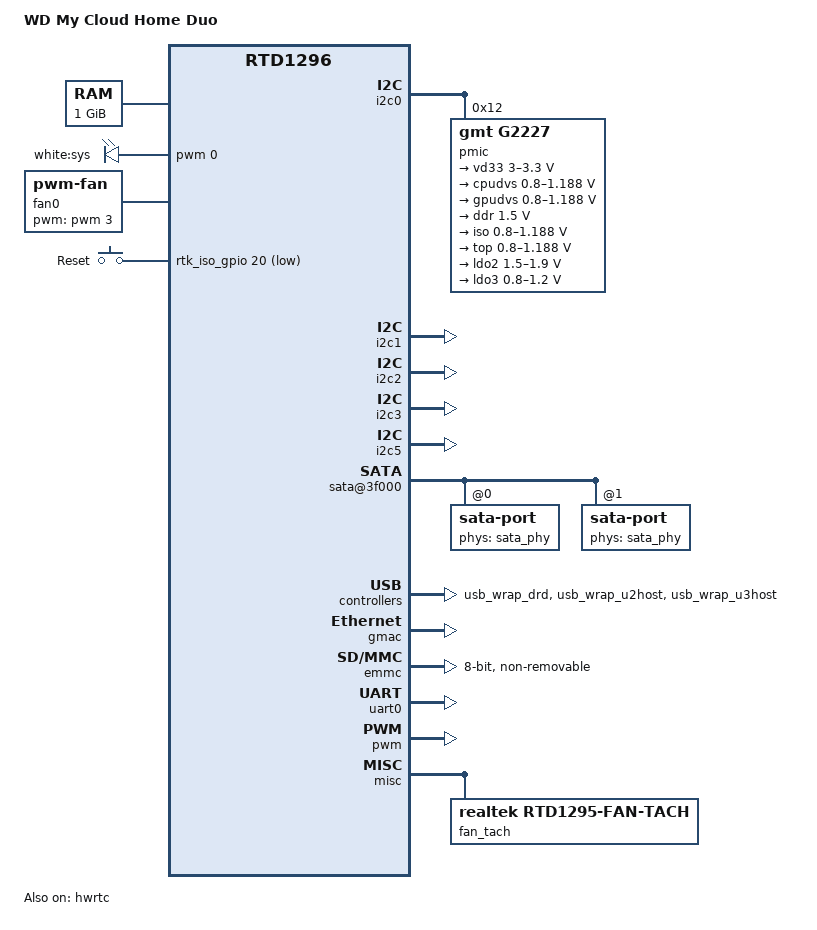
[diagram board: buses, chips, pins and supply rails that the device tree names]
// SPDX-License-Identifier: (GPL-2.0-or-later OR BSD-2-Clause)
/*
 * WD My Cloud Home Duo device tree
 * Based on Realtek RTD1296 SoC ("Pelican" board, vendor codename)
 *
 * Ported from kernel 4.9.330 (vendor symops/pelican-4.9.330) to 6.18,
 * following the same approach already proven on the single-bay WD My
 * Cloud Home (RTD1295 "Monarch", see rtd1295-wd-mycloud-home.dts in this
 * same directory -- that file's history/comments explain most of the
 * generic RTD129x-family bring-up decisions this file inherits unchanged
 * (SMP spin-table, IRQ mux, PWM/LED, cpufreq, thermal, GMAC, USB dwc3).
 *
 * RTD1296 is the same silicon as RTD1295 with a second SATA lane and a
 * third (u3host) USB controller bonded out -- see the vendor's
 * rtd-1296-saola-common.dtsi vs. rtd-1295-giraffe-common.dtsi (nearly
 * identical) and rtd-1296.dtsi vs. rtd-1295.dtsi (adds rtd-1296-sata.dtsi
 * with a second sata-phy/sata-port, and rtd-1296-usb.dtsi with a
 * dwc3_u3host block + an RTS5400 Type-C PD companion chip on i2c_5,
 * investigated and closed -- see the Progress log in README.md).
 * The WD My Cloud Home Duo boots its OS from eMMC (bootargs androidboot.storage=emmc in
 * the vendor DTS) and uses its two SATA bays for user data (RAID), unlike
 * the single-bay Monarch which boots from SATA directly. This port keeps
 * running rootfs from SATA (see the USB-rescue dev loop below) rather than
 * matching the vendor's eMMC-OS/SATA-data split, but the eMMC controller
 * itself is now ported (drivers/mmc/host/dw_mmc-rtd129x.c, see the `emmc`
 * node further down) as a plain mountable block device -- no mainline
 * RTD129x eMMC driver existed upstream; this one is new, a thin glue on
 * top of the mainline dw_mmc core (the IP is a genuine DesignWare Mobile
 * Storage Host, register-compatible, once you look past the vendor's own
 * from-scratch driver).
 *
 * Dual-SATA register values (CRT reset bits, PHY calibration tables) in
 * this file and in drivers/ata/ahci_rtd1295.c are cross-checked against
 * BOTH the vendor pelican-4.9.330 board DTS (rtd-1296-pelican-1GB.dts)
 * and a real vendor 4.9.330 boot log from an actual WD My Cloud Home Duo
 * unit with two WDC WD5000AZLX drives installed (both bays linking at
 * 6.0 Gbps) -- see the comment above ahci_rtd1295_ports_1296[] in that
 * driver for the exact register traces.
 */

/dts-v1/;

/*
 * Same USB-rescue-loader ramdisk staging convention as Monarch: see the
 * matching comment in rtd1295-wd-mycloud-home.dts. Confirmed identical on
 * this SoC family -- the vendor rtd-1296-pelican-rescue.dts reserves the
 * same ROOTFS_RESCUE_START/SIZE (0x02200000/0x00C00000) from
 * include/soc/realtek/memory.h, and the FDT "reserving fdt memory region:
 * addr=2200000 size=400000" line in the real Duo boot log matches exactly.
 */
/memreserve/ 0x02200000 0x00C00000;

#include "rtd1296.dtsi"
#include <dt-bindings/gpio/gpio.h>
#include <dt-bindings/input/input.h>
#include <dt-bindings/thermal/thermal.h>
#include <dt-bindings/reset/realtek,rtd1295.h>

/ {
	compatible = "wd,mycloud-home-duo", "realtek,rtd1296";
	model = "WD My Cloud Home Duo";

	/*
	 * Confirmed by the real boot log ("U-Boot 2015.07 ... DRAM: 1 GiB").
	 * Same 32-bit root address cells caveat as Monarch: fine as long as
	 * everything stays below 4 GiB.
	 */
	memory@0 {
		device_type = "memory";
		reg = <0x0 0x40000000>;
	};

	aliases {
		serial0 = &uart0;
		serial1 = &uart1;
		serial2 = &uart2;
		i2c0 = &i2c0;
		i2c1 = &i2c1;
	};

	chosen {
		bootargs = "earlycon=uart8250,mmio32,0x98007800 console=ttyS0,115200 panic=5";
		stdout-path = "serial0:115200n8";
		linux,initrd-start = <0x02200000>;
		linux,initrd-end = <0x02600000>;
	};

	reserved-memory {
		#address-cells = <1>;
		#size-cells = <1>;
		ranges;

		linux,cma {
			compatible = "shared-dma-pool";
			reusable;
			size = <0x02000000>;
			linux,cma-default;
		};

		ramoops@22000000 {
			compatible = "ramoops";
			reg = <0x22000000 0x200000>;
			record-size = <0x4000>;
			console-size = <0x100000>;
			ftrace-size = <0x4000>;
		};
	};
};

&rbus {
	/* Same RTD129x interrupt mux as Monarch -- see that file's comment. */
	mux_intc: interrupt-controller@1b000 {
		compatible = "Realtek,rtk-irq-mux";
		status = "okay";
		interrupt-controller;
		#interrupt-cells = <2>;

		Realtek,mux-nr = <2>;
		intr-status = <0x0c 0x00>;
		intr-en = <0x80 0x40>;

		interrupt-parent = <&gic>;
		interrupts = <GIC_SPI 40 IRQ_TYPE_LEVEL_HIGH>,
			     <GIC_SPI 41 IRQ_TYPE_LEVEL_HIGH>;

		reg = <0x1b000 0x100>, <0x7000 0x100>;
	};

	/*
	 * I2C buses, same "realtek,rtk-i2c" binding and RBUS addresses as
	 * Monarch (SoC-level, not board-specific). i2c5 additionally carries
	 * an RTS5400 Type-C PD companion chip on this board (vendor
	 * rtd1296.dtsi &i2c_5) -- investigated and closed, not planned: its
	 * USB3 hub function is transparent hardware needing no driver at
	 * all, and the vendor I2C driver only ever gates one optional 12V
	 * accessory-power GPIO after a proprietary PD negotiation. Left
	 * unlisted here. See README.md's Progress log.
	 */
	i2c0: i2c@7d00 {
		compatible = "realtek,rtk-i2c";
		reg = <0x7d00 0x100>, <0x7000 0x100>;
		interrupt-parent = <&mux_intc>;
		interrupts = <1 8>;
		i2c-num = <0>;
		status = "okay";
		#address-cells = <1>;
		#size-cells = <0>;

		pmic@12 {
			compatible = "gmt,g2227";
			reg = <0x12>;
			status = "okay";

			regulators {
				compatible = "gmt,g2227-regulator";
				status = "okay";

				dc1 { regulator-boot-on; regulator-always-on; regulator-name = "vd33"; regulator-min-microvolt = <3000000>; regulator-max-microvolt = <3300000>; regulator-initial-mode = <1>; };
				dc2 { regulator-boot-on; regulator-always-on; regulator-name = "cpudvs"; regulator-min-microvolt = <800000>; regulator-max-microvolt = <1187500>; regulator-initial-mode = <0>; regulator-state-mem { regulator-off-in-suspend; }; };
				dc3 { regulator-boot-on; regulator-always-on; regulator-name = "gpudvs"; regulator-min-microvolt = <800000>; regulator-max-microvolt = <1187500>; regulator-initial-mode = <0>; regulator-ramp-delay = <625>; regulator-state-mem { regulator-off-in-suspend; }; };
				dc4 { regulator-boot-on; regulator-always-on; regulator-name = "ddr"; regulator-min-microvolt = <1500000>; regulator-max-microvolt = <1500000>; regulator-initial-mode = <0>; regulator-state-coldboot { regulator-off-in-suspend; }; };
				dc5 { regulator-boot-on; regulator-always-on; regulator-name = "iso"; regulator-min-microvolt = <800000>; regulator-max-microvolt = <1187500>; regulator-initial-mode = <0>; };
				dc6 { regulator-boot-on; regulator-always-on; regulator-name = "top"; regulator-min-microvolt = <800000>; regulator-max-microvolt = <1187500>; regulator-initial-mode = <0>; regulator-state-mem { regulator-off-in-suspend; }; };
				ldo2 { regulator-boot-on; regulator-always-on; regulator-name = "ldo2"; regulator-min-microvolt = <1500000>; regulator-max-microvolt = <1900000>; regulator-initial-mode = <0>; regulator-state-mem { regulator-off-in-suspend; }; };
				ldo3 { regulator-boot-on; regulator-always-on; regulator-name = "ldo3"; regulator-min-microvolt = <800000>; regulator-max-microvolt = <1200000>; regulator-initial-mode = <0>; regulator-state-mem { regulator-off-in-suspend; }; };
			};
		};
	};

	i2c1: i2c@7c00 {
		compatible = "realtek,rtk-i2c";
		reg = <0x7c00 0x100>, <0x7000 0x100>;
		interrupt-parent = <&mux_intc>;
		interrupts = <1 11>;
		i2c-num = <1>;
		status = "okay";
		#address-cells = <1>;
		#size-cells = <0>;
	};

	i2c2: i2c@1b700 {
		compatible = "realtek,rtk-i2c";
		reg = <0x1b700 0x100>, <0x1b00c 0x100>;
		interrupt-parent = <&mux_intc>;
		interrupts = <0 26>;
		i2c-num = <2>;
		status = "okay";
		#address-cells = <1>;
		#size-cells = <0>;
	};

	i2c3: i2c@1b900 {
		compatible = "realtek,rtk-i2c";
		reg = <0x1b900 0x100>, <0x1b00c 0x100>;
		interrupt-parent = <&mux_intc>;
		interrupts = <0 23>;
		i2c-num = <3>;
		status = "okay";
		#address-cells = <1>;
		#size-cells = <0>;
	};

	i2c4: i2c@1ba00 {
		compatible = "realtek,rtk-i2c";
		reg = <0x1ba00 0x100>, <0x1b00c 0x100>;
		interrupt-parent = <&mux_intc>;
		interrupts = <0 15>;
		i2c-num = <4>;
		status = "disabled";
		#address-cells = <1>;
		#size-cells = <0>;
	};

	i2c5: i2c@1bb00 {
		compatible = "realtek,rtk-i2c";
		reg = <0x1bb00 0x100>, <0x1b00c 0x100>;
		interrupt-parent = <&mux_intc>;
		interrupts = <0 14>;
		i2c-num = <5>;
		status = "okay";
		#address-cells = <1>;
		#size-cells = <0>;
	};

	/*
	 * ISO_GPIO block -- mainline drivers/gpio/gpio-rtd.c
	 * ("realtek,rtd1295-iso-gpio"), never previously instantiated
	 * anywhere in this port (neither here nor in Monarch's DTS -- both
	 * only carried a stale "TODO: Port GPIO and pinctrl" comment). Added
	 * now specifically to expose the Reset button (see below); nothing
	 * else on this board needs it yet.
	 *
	 * `reg` order is [0]=GPIO data/control registers, [1]=GPIO interrupt
	 * (assert/deassert status) registers -- confirmed against the
	 * driver's own upstream binding
	 * (Documentation/devicetree/bindings/gpio/realtek,rtd-gpio.yaml
	 * example: "reg: [0] GPIO controller registers, [1] GPIO interrupt
	 * registers") and cross-checked against this file's own
	 * already-hardware-confirmed RTD_MISC_GPIO_DIR/DATO offsets in
	 * ahci_rtd1295.c (dir=+0x0, dato=+0x10 relative to 0x9801b100, the
	 * *second* of the vendor DTS's two misc_gpio reg entries) -- i.e.
	 * this order is the reverse of how the vendor's own (differently
	 * structured) DTS lists the same two physical blocks. ISO_GPIO is
	 * 0x98007100 (rbus-relative 0x7100) / ISO_SYS is 0x98007000
	 * (rbus-relative 0x7000), same pairing as the vendor's own
	 * rtk_iso_gpio@98007100 node in rtd-1296.dtsi.
	 *
	 * interrupts: same &mux_intc bank/bit pair as the vendor's own
	 * rtk_iso_gpio node (interrupt-parent = <&mux_intc>; interrupts =
	 * <1 19>, <1 20>; in rtd-1296.dtsi) -- GPIOA_INT (assert) then
	 * GPIODA_INT (deassert), mux bank 1 (same bank i2c0/i2c1 above use).
	 *
	 * No pinctrl driver exists in this port yet (same stale TODO as
	 * above), so gpio-ranges -- required by the binding -- is omitted;
	 * these 35 ISO GPIO lines default to GPIO mode with no pinmux group
	 * needed (same reasoning already applied to the LED GPIOs in
	 * ahci_rtd1295.c/rtd1295-wd-mycloud-home.dts's pwm-leds). This is a
	 * schema violation `make dtbs_check` would flag, not something
	 * `make dtbs` itself checks.
	 *
	 * reg[1] (the ISO_SYS/interrupt-status block) is intentionally only
	 * 0x10 bytes, not the vendor's full 0x100-byte page: that page is
	 * shared with other, already-working peripherals at unrelated byte
	 * offsets within it -- &pwm at +0xd0 (rtd129x-pwm, this board's SYS
	 * LED and fan) and a simple-reset controller at +0x88 -- and
	 * devm_platform_ioremap_resource() reserves a reg entry's *entire*
	 * declared size exclusively via request_mem_region(), regardless of
	 * which bytes gpio-rtd.c actually touches. Declaring the vendor's
	 * full 0x100 here claimed that whole page and broke both of those
	 * drivers with "-EBUSY: can't request region" on real hardware
	 * (confirmed: SYS LED and fan both stopped working). 0x10 bytes
	 * covers only the registers gpio-rtd.c's rtd1295_iso_gpio_info
	 * actually needs for GPIO 22 (gpa_offset[0]=0x8, gpda_offset[0]=0xc
	 * -- the first status bank, GPIOs 0-30): far short of +0x88/+0xd0,
	 * so no more overlap. A future consumer needing local GPIO >=30 on
	 * this chip (bank 1, gpa/gpda at +0xe0/+0xe4) would need a wider
	 * window and would have to solve this same page-sharing conflict
	 * again; out of scope for this button.
	 */
	rtk_iso_gpio: gpio@7100 {
		compatible = "realtek,rtd1295-iso-gpio";
		reg = <0x7100 0x100>, <0x7000 0x10>;
		interrupt-parent = <&mux_intc>;
		interrupts = <1 19>, <1 20>;
		gpio-controller;
		#gpio-cells = <2>;
		status = "okay";
	};

	/*
	 * Cosmetic power-off -- see drivers/power/reset/wdmc-poweroff.c for
	 * the full story on why this isn't a real power cut. reg[0] is the
	 * pwm@d0 block's own OCD register (4 bytes, all 4 channels packed
	 * into one word -- see that node's own comment on why this can't be
	 * an exclusive devm_platform_ioremap_resource() claim).
	 *
	 * wd,usb-vbus-gpios: misc-gpio (raw MMIO, 0x9801b100/0x9801b110) was
	 * the first thing tried here and was exhaustively disproven on real
	 * hardware -- every one of its 64 bits (both banks) swept with zero
	 * effect on VBUS. These two rtk_iso_gpio lines are what the vendor's
	 * own stock-firmware boot log on this exact unit actually uses
	 * (rtk_usb_manager: power-gpio id=127/135 -> local offsets 26/34
	 * under rtk_iso_gpio's gpio_base=101), confirmed by direct testing
	 * to each cut one external USB port's power when held low for
	 * several seconds (not a brief pulse) and restore it when driven
	 * back high: line 34 is the bottom bay's port, line 26 the top
	 * one's.
	 */
	poweroff: poweroff@70d0 {
		compatible = "wd,mycloud-home-poweroff";
		reg = <0x70d0 0x4>;
		wd,pwm-off-channels = <0 3>; /* SYS LED=0, fan=3 */
		wd,usb-vbus-gpios = <&rtk_iso_gpio 34 GPIO_ACTIVE_HIGH>,
				     <&rtk_iso_gpio 26 GPIO_ACTIVE_HIGH>;
		status = "okay";
	};

	/*
	 * SATA PHY + AHCI controller, two ports. PHY driver: mainline
	 * drivers/phy/realtek/phy-rtk-sata.c; AHCI glue:
	 * drivers/ata/ahci_rtd1295.c (compatible "realtek,rtd1296-ahci" ->
	 * ahci_rtd1295_ports_1296[], two CRT-reset/gpio entries, see that
	 * driver's comment for the exact register values and how they were
	 * confirmed against a real two-bay boot log).
	 *
	 * phy-param and rx-sense-tbl are identical for both ports (verbatim
	 * from the vendor rtd-1296-pelican-1GB.dts sata_phy@9803FF60 node,
	 * cross-checked byte-for-byte against the real boot log's "phy0
	 * para"/"phy1 para" and "rxsense" trace lines). tx-driving-tbl is the
	 * only per-port difference (0x387a.../0x587a...), also confirmed by
	 * the log's "phy0 txdrv"/"phy1 txdrv" lines.
	 */
	sata_phy: sata-phy@3ff00 {
		compatible = "Realtek,rtk-sata-phy";
		reg = <0x3ff00 0x100>, <0x1a980 0x10>;
		#address-cells = <1>;
		#size-cells = <0>;
		#phy-cells = <1>;
		status = "okay";

		sata-phy@0 {
			reg = <0>;
			spread-spectrum = <0>;

			phy-param = <0x00001111>, <0x00005111>, <0x00009111>,
				    <0x336a0511>, <0x336a4511>, <0x336a8511>,
				    <0xE0700111>, <0xE05C4111>, <0xE04A8111>,
				    <0x00150611>, <0x00154611>, <0x00158611>,
				    <0xC6000A11>, <0xC6004A11>, <0xC6008A11>,
				    <0x70000211>, <0x70004211>, <0x70008211>,
				    <0xC6600A11>, <0xC6604A11>, <0xC6608A11>,
				    <0x20041911>, <0x20045911>, <0x20049911>,
				    <0x94aa2011>, <0x94aa6011>, <0x94aaa011>,
				    <0x17171511>, <0x17175511>, <0x17179511>,
				    <0x07701611>, <0x07705611>, <0x07709611>,
				    <0x00002a11>, <0x00006a11>, <0x0000aa11>,
				    <0x27710311>, <0x27684311>, <0x27648311>,
				    <0x29001011>, <0x29005011>, <0x29009011>,
				    <0xc0000C11>, <0xc0004C11>, <0xc0008C11>,
				    <0x00271711>, <0x00275711>, <0x00279711>;

			tx-driving-tbl = <0x94a72011>, <0x94a76011>, <0x94a7a011>,
					  <0x387a2111>, <0x387a6111>, <0x387aa111>;

			rx-sense-tbl = <0x72100911>, <0x72104911>, <0x72108911>,
					<0x27750311>, <0x276e4311>, <0x276c8311>;
		};

		sata-phy@1 {
			reg = <1>;
			spread-spectrum = <0>;

			phy-param = <0x00001111>, <0x00005111>, <0x00009111>,
				    <0x336a0511>, <0x336a4511>, <0x336a8511>,
				    <0xE0700111>, <0xE05C4111>, <0xE04A8111>,
				    <0x00150611>, <0x00154611>, <0x00158611>,
				    <0xC6000A11>, <0xC6004A11>, <0xC6008A11>,
				    <0x70000211>, <0x70004211>, <0x70008211>,
				    <0xC6600A11>, <0xC6604A11>, <0xC6608A11>,
				    <0x20041911>, <0x20045911>, <0x20049911>,
				    <0x94aa2011>, <0x94aa6011>, <0x94aaa011>,
				    <0x17171511>, <0x17175511>, <0x17179511>,
				    <0x07701611>, <0x07705611>, <0x07709611>,
				    <0x00002a11>, <0x00006a11>, <0x0000aa11>,
				    <0x27710311>, <0x27684311>, <0x27648311>,
				    <0x29001011>, <0x29005011>, <0x29009011>,
				    <0xc0000C11>, <0xc0004C11>, <0xc0008C11>,
				    <0x00271711>, <0x00275711>, <0x00279711>;

			tx-driving-tbl = <0x94a72011>, <0x94a76011>, <0x94a7a011>,
					  <0x587a2111>, <0x587a6111>, <0x587aa111>;

			rx-sense-tbl = <0x72100911>, <0x72104911>, <0x72108911>,
					<0x27750311>, <0x276e4311>, <0x276c8311>;
		};
	};

	sata@3f000 {
		compatible = "realtek,rtd1296-ahci";
		reg = <0x3f000 0xf00>;
		interrupts = <GIC_SPI 28 IRQ_TYPE_LEVEL_HIGH>;
		#address-cells = <1>;
		#size-cells = <0>;
		status = "okay";

		sata-port@0 {
			reg = <0>;
			phys = <&sata_phy 0>;
			phy-names = "sata-phy";
		};

		sata-port@1 {
			reg = <1>;
			phys = <&sata_phy 1>;
			phy-names = "sata-phy";
		};
	};

	/*
	 * GMAC. Same hardware/driver as Monarch (r8169soc, "Realtek,r8168"),
	 * confirmed by the real boot log: "r8169 98016000.gmac eth0:
	 * RTL8169SOC".
	 */
	/*
	 * USB. Same three dwc3 blocks as Monarch (drd/u2host/u3host all
	 * physically present on RTD1295 already; RTD1296 additionally hangs
	 * an RTS5400 Type-C PD companion chip off the u3host port via i2c5 --
	 * investigated and closed, see README.md's Progress log; its
	 * hub function needs no driver, u3host already confirmed working as
	 * a plain host). No board-specific PHY calibration tables here, same
	 * as Monarch -- the mainline phy-rtk-usb2/usb3 driver defaults
	 * (shared with Monarch, not board-specific) are confirmed sufficient
	 * on real Duo hardware too: xhci-hcd.2.auto (io mem 0x981f0000, the
	 * u3host controller) negotiated a real USB 3.0 SuperSpeed link with
	 * a device on its SS root hub (bus 5), no link-training errors in
	 * dmesg. Vendor rtd-1296-pelican-1GB.dts's dwc3_u3host_usb3phy/
	 * usb2phy tables were never needed. See README.md's Progress
	 * log for the full story.
	 */
	usb2phy_u2: usb-phy@13c14 {
		compatible = "realtek,rtd1295-usb2phy";
		reg = <0x13c14 0x4>, <0x31280 0x4>;
		#phy-cells = <0>;
	};

	usb2phy_u3: usb-phy@13e14 {
		compatible = "realtek,rtd1295-usb2phy";
		reg = <0x13e14 0x4>, <0x1f8280 0x4>;
		#phy-cells = <0>;
	};

	usb3phy_u3: usb-phy@13e10 {
		compatible = "realtek,rtd1295-usb3phy";
		reg = <0x13e10 0x4>;
		#phy-cells = <0>;
	};

	soc_thermal: thermal-sensor@1d150 {
		compatible = "realtek,rtd129x-thermal-sensor";
		reg = <0x1d150 0x20>;
		#thermal-sensor-cells = <0>;
	};

	usb2phy_drd: usb-phy@13214 {
		compatible = "realtek,rtd1295-usb2phy";
		reg = <0x13214 0x4>, <0x28280 0x4>;
		#phy-cells = <0>;
	};

	usb3phy_drd: usb-phy@13210 {
		compatible = "realtek,rtd1295-usb3phy";
		reg = <0x13210 0x4>;
		#phy-cells = <0>;
	};

	usb_wrap_drd: usb@13200 {
		compatible = "realtek,rtd1295-dwc3", "realtek,rtd-dwc3";
		reg = <0x13200 0x200>;
		#address-cells = <1>;
		#size-cells = <1>;
		ranges;

		usb_drd: usb@20000 {
			compatible = "snps,dwc3";
			reg = <0x20000 0x9000>;
			interrupts = <GIC_SPI 21 IRQ_TYPE_LEVEL_HIGH>;
			phys = <&usb2phy_drd>, <&usb3phy_drd>;
			phy-names = "usb2-phy", "usb3-phy";
			dr_mode = "host";
			snps,dis_u2_susphy_quirk;
			snps,dis_ss_park_mode;
			resets = <&reset1 RTD1295_RSTN_USB>,
				 <&reset1 RTD1295_RSTN_USB_PHY0>,
				 <&reset1 RTD1295_RSTN_USB3_PHY0_POW>,
				 <&reset1 RTD1295_RSTN_USB3_P0_MDIO>;
		};
	};

	usb_wrap_u2host: usb@13c00 {
		compatible = "realtek,rtd1295-dwc3", "realtek,rtd-dwc3";
		reg = <0x13c00 0x200>;
		#address-cells = <1>;
		#size-cells = <1>;
		ranges;

		usb_u2host: usb@29000 {
			compatible = "snps,dwc3";
			reg = <0x29000 0x9000>;
			interrupts = <GIC_SPI 21 IRQ_TYPE_LEVEL_HIGH>;
			phys = <&usb2phy_u2>;
			phy-names = "usb2-phy";
			dr_mode = "host";
			snps,dis_u2_susphy_quirk;
			resets = <&reset1 RTD1295_RSTN_USB>,
				 <&reset1 RTD1295_RSTN_USB_PHY0>,
				 <&reset1 RTD1295_RSTN_USB_PHY1>,
				 <&reset2 RTD1295_RSTN_USB_PHY2>,
				 <&reset2 RTD1295_RSTN_USB_PHY3>;
		};
	};

	usb_wrap_u3host: usb@13e00 {
		compatible = "realtek,rtd1295-dwc3", "realtek,rtd-dwc3";
		reg = <0x13e00 0x200>;
		#address-cells = <1>;
		#size-cells = <1>;
		ranges;

		usb_u3host: usb@1f0000 {
			compatible = "snps,dwc3";
			reg = <0x1f0000 0x9000>;
			interrupts = <GIC_SPI 21 IRQ_TYPE_LEVEL_HIGH>;
			phys = <&usb2phy_u3>, <&usb3phy_u3>;
			phy-names = "usb2-phy", "usb3-phy";
			dr_mode = "host";
			snps,dis_u2_susphy_quirk;
			snps,dis_ss_park_mode;
			resets = <&reset1 RTD1295_RSTN_USB>,
				 <&reset1 RTD1295_RSTN_USB3_PHY0_POW>,
				 <&reset1 RTD1295_RSTN_USB3_P0_MDIO>,
				 <&reset2 4>,
				 <&reset2 RTD1295_RSTN_USB3_P1_MDIO>;
		};
	};

	gmac: ethernet@16000 {
		compatible = "Realtek,r8168";
		reg = <0x16000 0x1000>, <0x7000 0x1000>;
		interrupt-parent = <&gic>;
		interrupts = <GIC_SPI 22 IRQ_TYPE_LEVEL_HIGH>;
		resets = <&iso_reset RTD1295_ISO_RSTN_GMAC>,
			 <&iso_reset RTD1295_ISO_RSTN_GPHY>;
		reset-names = "gmac", "gphy";
		output-mode = <0>;
		mac-version = <0x2a>;
		ext-phy-id = <1>;
		led-cfg = <0x804f>;
		rtl-config = <1>;
		rtl-features = <2>;
		eee = <1>;
		rgmii-voltage = <1>;
		rgmii-tx-delay = <0>;
		rgmii-rx-delay = <0>;
		status = "okay";
	};

	/*
	 * SPI-NOR flash controller (SFC) and the flash-backed RTC that rides
	 * on it (Monarch's drivers/rtc/rtc-wd-mch-flash.c) are NOT enabled
	 * here -- investigated and closed, not just deferred. Unlike
	 * Monarch's SFC (which came back a real, if initially misread,
	 * Winbond ID), this Duo unit's SFC probe fails outright with
	 * "unrecognized JEDEC id bytes: ff, ff, ff" (all-high SPI lines, the
	 * classic "nothing answering" pattern, not a protocol/misdetection
	 * error).
	 *
	 * The open question was whether that's a rescue-DT power/mux gap or
	 * a genuinely absent chip. Resolved by checking two things: (1) the
	 * vendor's own *production* board DTS (rtd-1296-pelican-1GB.dts)
	 * doesn't override the SFC node at all -- it inherits
	 * `status = "okay"` from the shared rtd-1296.dtsi exactly like the
	 * rescue board DTS (rtd-1296-pelican-rescue.dts) does, with zero
	 * board-level pin/power difference between the two; (2) a captured
	 * boot log of the *vendor's own* 4.9.330 kernel and rtk-sfc driver,
	 * on this same real unit, shows the identical
	 * "unrecognized JEDEC id bytes: ff, ff, ff" failure. Vendor
	 * software, vendor driver, identical DT config to production --
	 * still nothing answers. That rules out a rescue-specific gap; this
	 * unit's boot SPI-NOR is most likely simply not populated (a BOM
	 * variant) or non-functional on this specific board, not something
	 * a DT/driver change on our side can fix. System clock defaults to
	 * the epoch and gets fixed by NTP once the network is up, same as
	 * Monarch before its flash-RTC was added -- and the same fallback
	 * this Duo unit needs permanently, not just until porting catches
	 * up.
	 */
	sfc: sfc@1a800 {
		compatible = "realtek,rtk-sfc";
		reg = <0x1a800 0x50>;
		status = "disabled";
	};

	/*
	 * eMMC (drivers/mmc/host/dw_mmc-rtd129x.c). The vendor's original
	 * design boots the OS from here and uses the two SATA bays for RAID
	 * data only; this port instead runs rootfs from SATA (see the file
	 * header comment) and treats the eMMC as a plain, mountable block
	 * device. Phase 1: MMC_TIMING_MMC_HS (~50MHz), fixed phase, no
	 * tuning -- matches this exact board's own production DTS
	 * (rtd-1296-pelican-1GB.dts: `speed-step = <0>;` i.e. SDR,
	 * `phase_tuning = <0 0>;` i.e. tuning disabled). `pad-driving` below
	 * is that DTS's `pddrive_nf_s0` verbatim (clk/cmd/data/ds = 0x77/
	 * 0x77/0x77/0x33). HS200/HS400 not wired up -- see dw_mmc-rtd129x.c.
	 */
	emmc: mmc@12000 {
		compatible = "realtek,rtd1295-dw-mshc";
		reg = <0x12000 0xa00>;
		interrupts = <GIC_SPI 42 IRQ_TYPE_LEVEL_HIGH>;
		clock-frequency = <100000000>;
		/*
		 * The mainline dw_mmc core's own fallback -- reading
		 * FIFOTH's power-on RX_WMark value back at probe time to
		 * infer fifo_depth -- doesn't work on this board: the
		 * bootloader already reprograms FIFOTH (to 0x0001007f)
		 * while loading the kernel Image off this exact eMMC
		 * controller earlier in the same boot, long before Linux
		 * gets a chance to read the untouched value. Observed on
		 * real hardware: "2 deep fifo" (from a corrupted RX_WMark=1
		 * readback), followed by a full kernel hang/RCU stall
		 * shortly after mmc0 registers -- consistent with a FIFO
		 * threshold/DMA-burst-size mismatch against the real
		 * hardware FIFO. The vendor rtkemmc.c source carries the
		 * true power-on value in a comment right next to its own
		 * FIFOTH override: `// original: 0x0007f007f`, i.e.
		 * RX_WMark=0x7f=127 -- matching the mainline comment's
		 * "power-on value of RX_WMark is FIFO_DEPTH-1" exactly, so
		 * FIFO_DEPTH=128. Supplying it explicitly skips the broken
		 * readback path entirely.
		 */
		fifo-depth = <128>;
		bus-width = <8>;
		non-removable;
		cap-mmc-highspeed;
		realtek,pad-driving = <1 0x77 0x77 0x77 0x33>;
		/* HS200 (Phase 2) pad-driving table -- vendor's pddrive_nf_s2
		 * default from rtd-1296.dtsi (stronger clk/cmd/data drive
		 * than SDR/HS, ds unchanged). Same fallback is built into
		 * dw_mmc-rtd129x.c if this property is absent.
		 */
		realtek,pad-driving-hs200 = <1 0xbb 0xbb 0xbb 0x33>;
		status = "okay";
	};
};

&uart0 {
	interrupt-parent = <&mux_intc>;
	interrupts = <1 2>;
	interrupts-st-mask = <0x4>;
	status = "okay";
};

&uart1 {
	status = "disabled";
};

&uart2 {
	status = "disabled";
};

/* SMP spin-table, identical mechanism to Monarch -- same SoC family. */
&cpu0 {
	enable-method = "spin-table";
	cpu-release-addr = <0x0 0x9801aa44>;
};

&cpu1 {
	enable-method = "spin-table";
	cpu-release-addr = <0x0 0x9801aa44>;
};

&cpu2 {
	enable-method = "spin-table";
	cpu-release-addr = <0x0 0x9801aa44>;
};

&cpu3 {
	enable-method = "spin-table";
	cpu-release-addr = <0x0 0x9801aa44>;
};

/* eMMC (98012000.emmc on this SoC family) -- ported and confirmed
 * working on real hardware (`drivers/mmc/host/dw_mmc-rtd129x.c`, PIO
 * mode, HS200 Phase 2 also confirmed -- see the `emmc` node further
 * down and README.md's Progress log for the full story).
 * Rootfs still runs from the two SATA bays, not eMMC -- same choice
 * Monarch's mainline port already made over the vendor's original
 * eMMC-boot/SATA-data scheme; eMMC is just a plain mountable block
 * device here, not a boot path.
 */

/* RTS5400 Type-C PD companion chip on i2c5 (vendor rtd1296.dtsi &i2c_5
 * node) -- investigated and closed, not planned. Its USB3 hub function
 * is transparent hardware (u3host already confirmed working as a plain
 * host); the vendor I2C driver only gates one optional 12V
 * accessory-power GPIO after a proprietary, non-mainline-compatible PD
 * protocol. See README.md's Progress log for the full reasoning.
 */

/*
 * Fan trip points (fan-alert0/1) are this port's own choice, not a vendor
 * value carried over: the vendor's rtk_fan.c has no in-kernel thermal
 * curve at all -- just a manual 0-10 sysfs knob plus tach RPM readback,
 * presumably driven by a userspace daemon this port doesn't have source
 * for. 55C/70C give the fan a chance to cool the board (two spinning SATA
 * drives share this enclosure) well before soc_hot's 85C passive
 * CPU-throttle point would ever need to engage. Unlike every other
 * threshold in this file, these two are not cross-checked against
 * anything -- reasonable first guesses, worth revisiting once real
 * hardware shows actual temperatures under load.
 */
/ {
	thermal-zones {
		soc-thermal {
			polling-delay-passive = <250>;
			polling-delay = <10000>;
			thermal-sensors = <&soc_thermal>;

			trips {
				fan_alert0: fan-alert0 {
					temperature = <55000>;
					hysteresis = <5000>;
					type = "active";
				};

				fan_alert1: fan-alert1 {
					temperature = <70000>;
					hysteresis = <5000>;
					type = "active";
				};

				soc_hot: soc-hot {
					temperature = <85000>;
					hysteresis = <5000>;
					type = "passive";
				};

				soc-crit {
					temperature = <105000>;
					hysteresis = <2000>;
					type = "critical";
				};
			};

			cooling-maps {
				map0 {
					trip = <&soc_hot>;
					cooling-device = <&cpu0 THERMAL_NO_LIMIT THERMAL_NO_LIMIT>,
							 <&cpu1 THERMAL_NO_LIMIT THERMAL_NO_LIMIT>,
							 <&cpu2 THERMAL_NO_LIMIT THERMAL_NO_LIMIT>,
							 <&cpu3 THERMAL_NO_LIMIT THERMAL_NO_LIMIT>;
				};

				map1 {
					trip = <&fan_alert0>;
					cooling-device = <&fan0 1 1>;
				};

				map2 {
					trip = <&fan_alert1>;
					cooling-device = <&fan0 2 2>;
				};
			};
		};
	};
};

&iso {
	pwm: pwm@d0 {
		compatible = "realtek,rtd129x-pwm";
		reg = <0xd0 0xc>;
		clocks = <&osc27M>;
		#pwm-cells = <2>;
	};
};

&hwrtc {
	/*
	 * Unlike Monarch's board (confirmed no battery on real hardware,
	 * left unbound there), this Duo unit has a physically-confirmed
	 * coin-cell battery on the board. The flash-backed RTC scheme
	 * (Monarch's drivers/rtc/rtc-wd-mch-flash.c) isn't an option here
	 * anyway -- this unit's boot SPI-NOR doesn't respond (see the SFC
	 * node comment above) -- so this real hardware counter
	 * (drivers/rtc/rtc-rtd119x.c) is the only candidate. Whether the
	 * battery is actually wired to this specific block's VBAT/always-on
	 * rail (as opposed to powering something else on the board) is what
	 * enabling it and checking RTCACR.RTCPWR / testing persistence
	 * across a real power cycle will tell us -- see rtd129x.dtsi's rtc0
	 * node comment for how the driver self-detects a cold start vs. a
	 * genuinely retained one.
	 */
	status = "okay";
};

/*
 * LEDs and fan, PWM channel assignment confirmed against the real boot
 * log: "[RTK_PWM] rtd1295_pwm_probe - hwpwm=(3) enable=(1) duty_rate=(20)
 * clksrc_div=(1) clkout_div=(255) ... default output frequence =
 * 26367Hz" -- channel 3 is the fan at 20% duty, not the SYS LED (which is
 * channel 0 on this board, unlike Monarch where it's channel 3). Same
 * clksrc_div/clkout_div (and hence the same ~26367 Hz / 37926 ns period)
 * as Monarch -- shared per-block clock divider, only per-channel duty
 * differs. The 10% SYS LED duty (channel 0) comes from the vendor
 * production board DTS (rtd-1296-pelican-1GB.dts pwm_0), not directly
 * from this log (which only shows the fan channel's probe line).
 */
/ {
	leds {
		compatible = "pwm-leds";

		led-sys {
			label = "white:sys";
			pwms = <&pwm 0 37926>;
			max-brightness = <255>;
			default-state = "on";
			default-brightness = <26>;
		};
	};

	/*
	 * Confirmed on real hardware: manual pwm1 writes (0/128/255) via the
	 * generic mainline pwm-fan driver correctly vary the physical fan
	 * speed (see README.md's Confirmed working list). Now wired
	 * into soc-thermal's cooling-maps (fan-alert0/1, see the comment
	 * above that thermal-zones block) so the three cooling-levels below
	 * (off/~20%/~50%) get driven automatically instead of staying at a
	 * fixed duty -- not yet hardware-tested. RPM feedback comes from
	 * the separate fan_tach node below (drivers/hwmon/rtd129x-fan-tach.c).
	 */
	fan0: pwm-fan {
		compatible = "pwm-fan";
		pwms = <&pwm 3 37926>;
		cooling-min-state = <0>;
		cooling-max-state = <2>;
		#cooling-cells = <2>;
		cooling-levels = <0 51 128>;
	};

	/*
	 * Reset button. Unlike symops/MCG1-6.18's board (LS1024A, GPIO_2,
	 * cross-confirmed against two separate vendor sources -- both
	 * barebox's commands/wd_button.c and the vendor kernel's
	 * drivers/input/misc/btn-wd.c read the exact same bit), the RTD1296
	 * vendor 4.9.330 tree has no dedicated button driver of its own at
	 * all -- confirmed by grepping drivers/input/misc/ for anything
	 * WD-specific there. The only trace of this button anywhere in the
	 * GPL source drop is the generic "Realtek,power-management"
	 * wakeup-gpio-list node in the vendor's rtd-1296-pelican-1GB.dts,
	 * which turned out to be the WRONG lead: it lists two candidate
	 * wakeup GPIOs on &rtk_iso_gpio (14 disabled, 22 enabled), and 22
	 * -- the only enabled one, the seemingly obvious guess -- does
	 * NOT move on a real button press (confirmed on real hardware with
	 * this node wired to it: gpio-keys registered fine, but evtest
	 * showed zero events, and /sys/kernel/debug/gpio confirmed the line
	 * genuinely never changes state while holding the button).
	 *
	 * Found the real line empirically instead, with no kernel rebuild
	 * needed: `gpioget -c gpiochip0 0 1 2 ... 34` (skipping 22, held
	 * busy by this very node) run once unpressed and once with the
	 * button held, diffing the two 34-value dumps. Exactly one line
	 * changed, active -> inactive, between the two reads: **GPIO 20**.
	 * Everything else (all 33 other lines) read identically both times
	 * -- about as clean a positive identification as this kind of
	 * black-box probing gets. GPIO 14, the vendor's other, disabled
	 * wakeup-gpio-list candidate, was never actually tested since 20
	 * already gave an unambiguous answer.
	 *
	 * Real IRQ, not polling: unlike LS1024A (no GPIO irqchip anywhere,
	 * vendor or mainline, forcing MCG1 to gpio-keys-polled), this SoC's
	 * &mux_intc + drivers/gpio/gpio-rtd.c combination is already proven
	 * on real Duo hardware for i2c0-i2c5 above, so a plain interrupt-
	 * driven "gpio-keys" node works here with no driver changes needed.
	 * (The gpiochip_enable_irq() WARN seen with the wrong-GPIO version
	 * of this node was a red herring, not a real bug: real hardware
	 * confirmed via /sys/kernel/debug/gpio that direction was correctly
	 * "in" the whole time -- the actual problem was always the GPIO
	 * number, not the IRQ plumbing.)
	 *
	 * KEY_PROG1 rather than KEY_RESTART, same reasoning and same real-
	 * hardware finding as MCG1's button node: KEY_RESTART gets treated
	 * as a genuine reboot request by systemd-logind on its own, with
	 * nothing of ours asking for that.
	 */
	gpio_keys: gpio-keys {
		compatible = "gpio-keys";

		button-reset {
			label = "Reset";
			linux,code = <KEY_PROG1>;
			gpios = <&rtk_iso_gpio 20 GPIO_ACTIVE_LOW>;
		};
	};
};

/*
 * Fan tachometer (RPM readback) -- a separate, self-contained IP block
 * from the PWM controller above, confirmed register-for-register against
 * the vendor 4.9.330 tree's rtk_fan.c ("realtek,rtk-fan") and this
 * board's own rtd-1296-pelican-1GB.dts override (same pwms = <&pwm 3 ...>
 * channel as fan0 above, status = "okay"). Not yet hardware-tested.
 * Placed under &misc (like &hwrtc) rather than the shared rtd129x.dtsi:
 * mux_intc, which this needs for its interrupt, is itself declared per-
 * board in this project (see mux_intc: interrupt-controller@1b000 above),
 * not in the shared dtsi, so board-level is where every other mux_intc
 * consumer already lives too.
 */
&misc {
	fan_tach: fan-tach@c00 {
		compatible = "realtek,rtd1295-fan-tach";
		reg = <0xc00 0x14>;
		interrupt-parent = <&mux_intc>;
		interrupts = <0 29>;
		resets = <&reset4 RTD1295_RSTN_FAN>;

		timer_target = <0x100000>;
		fan_debounce = <0x0>;
		fan_factor = <2>;
	};
};

&crt {
	scpu_clk: clock-controller {
		compatible = "realtek,rtd129x-scpu-clk";
		clocks = <&osc27M>;
		#clock-cells = <0>;
	};
};

&cpu0 {
	clocks = <&scpu_clk>;
	#cooling-cells = <2>;
	operating-points-v2 = <&cpu_opps>;
};

&cpu1 {
	clocks = <&scpu_clk>;
	#cooling-cells = <2>;
	operating-points-v2 = <&cpu_opps>;
};

&cpu2 {
	clocks = <&scpu_clk>;
	#cooling-cells = <2>;
	operating-points-v2 = <&cpu_opps>;
};

&cpu3 {
	clocks = <&scpu_clk>;
	#cooling-cells = <2>;
	operating-points-v2 = <&cpu_opps>;
};

/*
 * Same divider-only cpufreq scheme as Monarch. Confirmed on real Duo
 * hardware: the boot loader actually leaves PLL_SCPU decoding to
 * 600000 kHz (1200 MHz PLL / div2 -- not exactly the 1201.5 MHz
 * Monarch's comment describes, but the same table entry), which
 * cpufreq_policy_online logs as an "unlisted initial frequency" and
 * snaps to the nearest OPP (600750 kHz) at boot -- a normal, harmless
 * cpufreq-core step, not a bug. schedutil subsequently drove a real
 * scale-up to the top OPP (1100000 kHz), the code path that both
 * reprograms the PLL NF register *and* changes the post-divider
 * (2 -> 1, anti-glitch ordered): confirmed via cpuinfo_cur_freq
 * reading back 1100000 straight from hardware after the transition,
 * with the board still responsive. Full OPP range exercised, no hang.
 */
/ {
	cpu_opps: opp-table-cpu {
		compatible = "operating-points-v2";
		opp-shared;

		opp-300375000 {
			opp-hz = /bits/ 64 <300375000>;
			clock-latency-ns = <150000>;
		};

		opp-600750000 {
			opp-hz = /bits/ 64 <600750000>;
			clock-latency-ns = <150000>;
			opp-suspend;
		};

		opp-1100000000 {
			opp-hz = /bits/ 64 <1100000000>;
			clock-latency-ns = <300000>;
		};
	};
};
